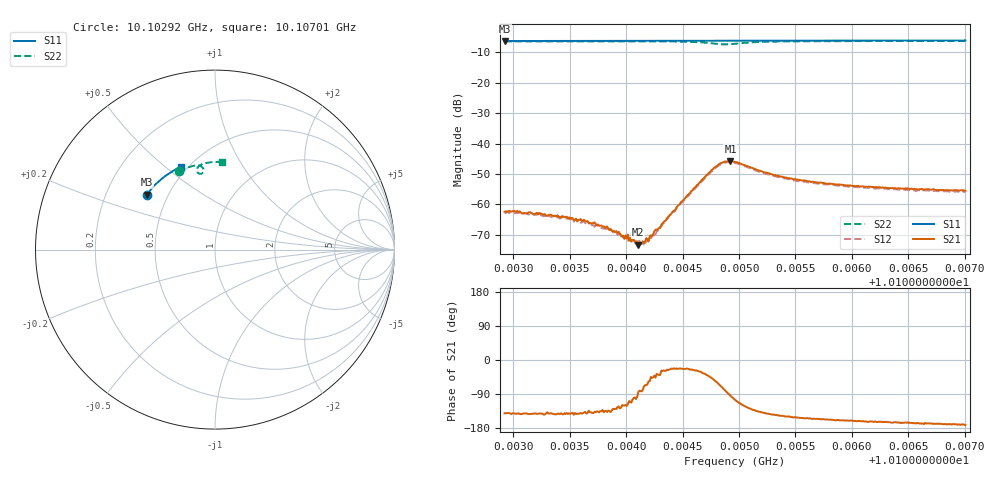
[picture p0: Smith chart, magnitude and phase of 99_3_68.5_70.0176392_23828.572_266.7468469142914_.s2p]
#  HZ  S  RI  R  50.00
! Rohde & Schwarz Vector Network Analyzer
! Rohde-Schwarz,ZNB20-2Port,1311601062101988,3.16
! Created: UTC 3/20/2024, 4:52:59 PM
! freq[Hz]  re:S11  im:S11  re:S21  im:S21  re:S12  im:S12  re:S22  im:S22
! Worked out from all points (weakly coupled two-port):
!   401 points, 10.10292 GHz to 10.10701 GHz, reference 50 ohm
!   highest |S21| = -45.73 dB at 10.10492 GHz (marker M1); lowest = -73.3 dB at 10.10411 GHz (marker M2)
!   lowest |S11| = -6.2 dB at 10.10292 GHz (marker M3), VSWR 2.91, Z = 19.1 + j15.3 ohm
!   |S11| at or under -10 dB: nowhere
!   |S22| runs from -7.3 to -6.2 dB; largest |S21 - S12| = 0.0005
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1.0102922e10  -0.3804 0.3057  -0.000585 -0.00048  -0.000525 -0.000521  -0.2028 0.4359
1.0103229e10  -0.3691 0.3207  -0.000565 -0.000452  -0.000487 -0.00044  -0.1843 0.4447
1.0103494e10  -0.3589 0.3332  -0.000472 -0.000389  -0.000419 -0.000404  -0.1676 0.4518
1.0103607e10  -0.3545 0.3384  -0.000417 -0.000332  -0.000357 -0.000357  -0.1604 0.4547
1.0103668e10  -0.3521 0.3412  -0.000341 -0.000352  -0.000354 -0.000332  -0.1564 0.4562
1.0103811e10  -0.3463 0.3476  -0.000288 -0.000293  -0.000271 -0.000299  -0.1468 0.4595
1.0103862e10  -0.3442 0.3501  -0.00029 -0.000267  -0.000238 -0.000297  -0.1434 0.4607
1.0104035e10  -0.3368 0.3576  -9.45e-05 -0.000263  -7.24e-05 -0.000249  -0.1307 0.4642
1.0104107e10  -0.3338 0.3608  1.9e-05 -0.000216  2.69e-05 -0.000241  -0.1253 0.4656
1.0104148e10  -0.332 0.3623  5.07e-05 -0.000241  6.89e-05 -0.000194  -0.1223 0.4662
1.0104168e10  -0.3313 0.3634  9.73e-05 -0.000221  0.000122 -0.000218  -0.1206 0.4666
1.0104219e10  -0.329 0.3654  0.000221 -0.00022  0.000198 -0.000196  -0.1165 0.4674
1.0104291e10  -0.3259 0.3686  0.000316 -0.000263  0.000345 -0.000189  -0.1104 0.4682
1.0104474e10  -0.3178 0.3762  0.000933 -0.000379  0.000951 -0.000293  -0.0926 0.4683
1.010477e10  -0.3041 0.3879  0.00245 -0.00294  0.0026 -0.00262  -0.063 0.4404
1.0104852e10  -0.3005 0.391  0.00145 -0.00466  0.00176 -0.00433  -0.0727 0.4244
1.0104924e10  -0.2973 0.3937  -0.000397 -0.00516  3.42e-05 -0.00497  -0.0899 0.4241
1.0104964e10  -0.2954 0.3953  -0.00131 -0.00484  -0.000829 -0.00474  -0.0971 0.4298
1.0105312e10  -0.279 0.4085  -0.00247 -0.00179  -0.00225 -0.0019  -0.0819 0.4707
1.0105649e10  -0.2622 0.4204  -0.00215 -0.000995  -0.00192 -0.00115  -0.055 0.4811
1.0106333e10  -0.227 0.4422  -0.00178 -0.00051  -0.00167 -0.000638  -0.0067 0.4882
1.0107006e10  -0.1907 0.4607  -0.00166 -0.000244  -0.0016 -0.000407  0.0381 0.4888
